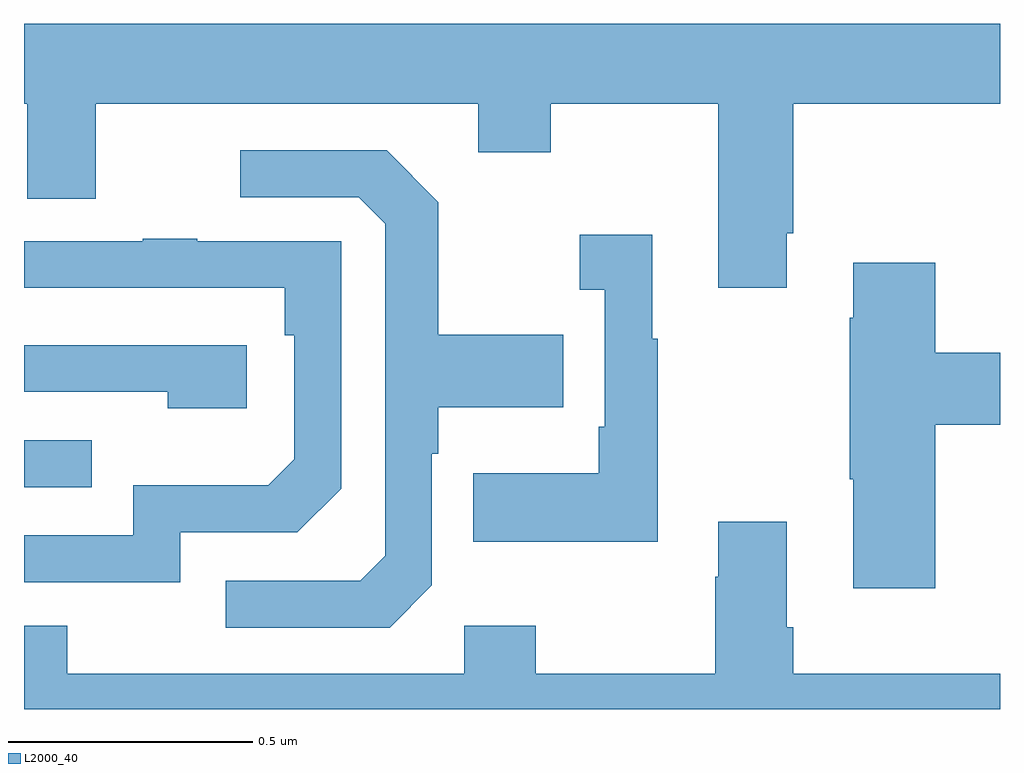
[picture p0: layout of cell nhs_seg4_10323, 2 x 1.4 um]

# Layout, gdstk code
import gdstk
lib = gdstk.Library(unit=1e-6, precision=1e-09)
def R(c, l, rs):  # rectangles x0, y0, x1, y1
    for r in rs: c.add(gdstk.rectangle(r[:2], r[2:], *l))
def P(c, l, *ps):  # polygons
    for p in ps: c.add(gdstk.Polygon(p, *l))
L2000_40 = (2000, 40)

nhs_seg4_10323 = lib.new_cell('nhs_seg4_10323')
R(nhs_seg4_10323, L2000_40, [(238,809.355,238.139,809.451)])
P(nhs_seg4_10323, L2000_40, [(239.563,809.875),(239.576,809.875),(239.576,810.14),(240,810.14),(240,810.304),(238,810.304),(238,810.14),(238.007,810.14),(238.007,809.946),(238.147,809.946),(238.147,810.14),(238.931,810.14),(238.931,810.041),(239.079,810.041),(239.079,810.14),(239.423,810.14),(239.423,809.763),(239.563,809.763)],
  [(238.836,809.154),(238.836,809.423),(238.849,809.423),(238.849,809.519),(239.105,809.519),(239.105,809.667),(238.849,809.667),(238.849,809.939),(238.743,810.045),(238.443,810.045),(238.443,809.949),(238.686,809.949),(238.74,809.895),(238.74,809.214),(238.689,809.163),(238.413,809.163),(238.413,809.067),(238.749,809.067)],
  [(239.299,809.659),(239.287,809.659),(239.287,809.872),(239.139,809.872),(239.139,809.759),(239.19,809.759),(239.19,809.479),(239.178,809.479),(239.178,809.383),(238.921,809.383),(238.921,809.243),(239.299,809.243)],
  [(238.32,809.262),(238.56,809.262),(238.65,809.352),(238.65,809.859),(238.355,809.859),(238.355,809.864),(238.243,809.864),(238.243,809.859),(238,809.859),(238,809.763),(238.534,809.763),(238.534,809.666),(238.554,809.666),(238.554,809.412),(238.501,809.359),(238.224,809.359),(238.224,809.256),(238,809.256),(238,809.16),(238.32,809.16)],
  [(239.867,809.483),(240,809.483),(240,809.63),(239.867,809.63),(239.867,809.815),(239.699,809.815),(239.699,809.702),(239.692,809.702),(239.692,809.371),(239.699,809.371),(239.699,809.148),(239.867,809.148)],
  [(238.456,809.646),(238,809.646),(238,809.55),(238.295,809.55),(238.295,809.516),(238.456,809.516)],
  [(240,808.972),(239.576,808.972),(239.576,809.068),(239.563,809.068),(239.563,809.284),(239.423,809.284),(239.423,809.171),(239.416,809.171),(239.416,808.972),(239.049,808.972),(239.049,809.071),(238.902,809.071),(238.902,808.972),(238.089,808.972),(238.089,809.071),(238,809.071),(238,808.9),(240,808.9)])

lib.write_gds('nhs_seg4_10323.gds')
